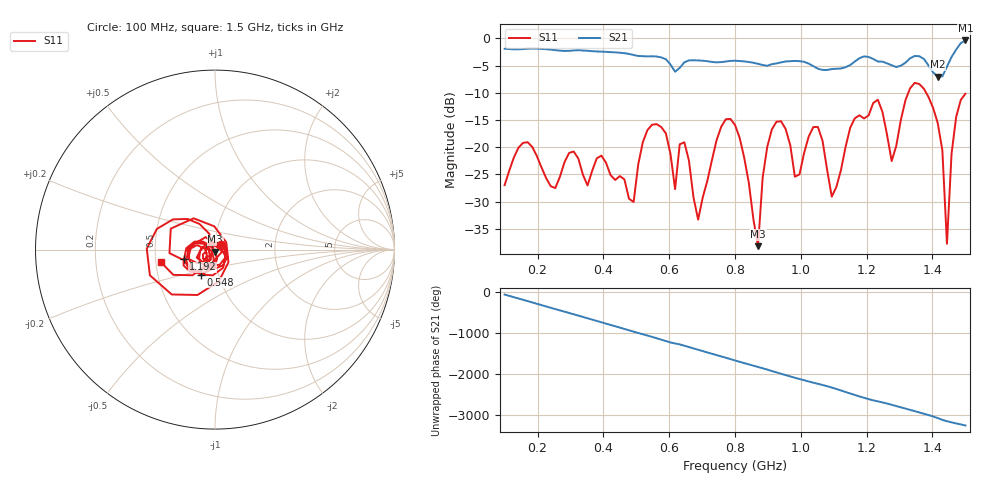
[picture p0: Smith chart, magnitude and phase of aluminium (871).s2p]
! NanoVNA-App
! Date: 2025-09-25 15:02:04
! Start: 100MHz Stop: 1,5GHz Points: 101
! S-Parameter data: F S11 S21 S12 S22
# Hz S RI R 50
!  Frequency  S11_Real  S11_Imag  S21_Real  S21_Imag  S12_Real  S12_Imag  S22_Real  S22_Imag
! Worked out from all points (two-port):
!   101 points, 100 MHz to 1.5 GHz, reference 50 ohm
!   highest |S21| = -0.40 dB at 1.5 GHz (marker M1); lowest = -7.1 dB at 1.416 GHz (marker M2)
!   |S21| within 3 dB of the highest: start of sweep to 566.5 MHz; 1.458 GHz to end of sweep (the widest 2 of 4)
!   lowest |S11| = -38.2 dB at 870 MHz (marker M3), VSWR 1.03, Z = 50.1 - j1.23 ohm
!   |S11| at or under -10 dB: start of sweep to 1.327 GHz; 1.381 GHz to end of sweep
!   S12 and S22 are empty: the file has one direction only
!   S11 on the Smith chart (normalised r, x): 100 MHz: 1.07, +0.06; 548 MHz: 0.82, -0.23; 1.192 GHz: 0.70, -0.08; 1.5 GHz: 0.53, -0.08
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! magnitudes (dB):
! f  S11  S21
! 100 MHz  -27.0  -1.9
! 338 MHz  -25.1  -2.2
! 492 MHz  -30.0  -3.1
! 548 MHz  -15.9  -3.3
! 576 MHz  -16.3  -3.5
! 618 MHz  -27.7  -6.1
! 646 MHz  -19.1  -4.4
! 688 MHz  -33.3  -4.1
! 800 MHz  -15.9  -4.1
! 870 MHz  -38.2  -4.7
! 912 MHz  -16.7  -4.8
! 982 MHz  -25.4  -4.2
! 1.038 GHz  -16.3  -5.1
! 1.094 GHz  -29.1  -5.7
! 1.192 GHz  -14.7  -3.3
! 1.234 GHz  -11.3  -4.3
! 1.276 GHz  -22.5  -5.0
! 1.346 GHz  -8.2  -3.2
! 1.416 GHz  -15.6  -7.1
! 1.444 GHz  -37.7  -5.2
! 1.458 GHz  -21.2  -3.4
! 1.5 GHz  -10.2  -0.4
